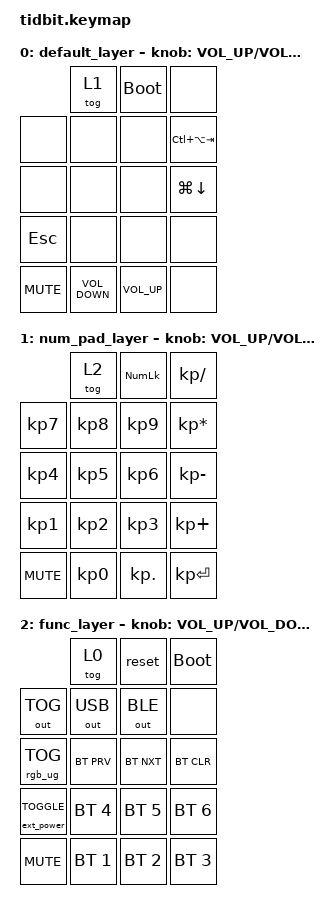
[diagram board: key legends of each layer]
/*
 * Copyright (c) 2020 The ZMK Contributors
 *
 * SPDX-License-Identifier: MIT
 */

#include <behaviors.dtsi>
#include <dt-bindings/zmk/bt.h>
#include <dt-bindings/zmk/outputs.h>
#include <dt-bindings/zmk/rgb.h>
#include <dt-bindings/zmk/keys.h>
#include <dt-bindings/zmk/ext_power.h>

&encoder_1_top_row {
    status = "disabled";
};

&encoder_4 {
    status = "okay";
};

&pro_micro_i2c {
	status = "okay";
};

/ {
    sensors {
		compatible = "zmk,keymap-sensors";
		sensors = <&encoder_4>;
	};

// Purple : &rgb_ug RGB_COLOR_HSB(275, 100, 50)
// Orange : &rgb_ug RGB_COLOR_HSB(35, 100, 50)
// Blue   : &rgb_ug RGB_COLOR_HSB(215, 100, 50)

    keymap {
        compatible = "zmk,keymap";
        default_layer {
            bindings = <
                           &tog 1            &bootloader     &none
                &none      &none             &none           &kp LC(LA(TAB))
                &none      &none             &none           &kp LG(DOWN_ARROW)
                &kp ESCAPE &none             &none           &none
                &kp C_MUTE &kp C_VOLUME_DOWN &kp C_VOLUME_UP &none
            >;

            sensor-bindings = <&inc_dec_kp C_VOLUME_UP C_VOLUME_DOWN>;
        };
        num_pad_layer {
            bindings = <
                                &tog 2          &kp KP_NUMLOCK  &kp KP_SLASH
                &kp KP_NUMBER_7 &kp KP_NUMBER_8 &kp KP_NUMBER_9 &kp KP_ASTERISK
                &kp KP_NUMBER_4 &kp KP_NUMBER_5 &kp KP_NUMBER_6 &kp KP_MINUS
                &kp KP_NUMBER_1 &kp KP_NUMBER_2 &kp KP_NUMBER_3 &kp KP_PLUS
                &kp C_MUTE      &kp KP_NUMBER_0 &kp KP_DOT      &kp KP_ENTER
            >;

            sensor-bindings = <&inc_dec_kp C_VOLUME_UP C_VOLUME_DOWN>;
        };

         func_layer {
             bindings = <
                                &tog 0          &reset          &bootloader
                &out OUT_TOG    &out OUT_USB    &out OUT_BLE    &none
                &rgb_ug RGB_TOG &bt BT_PRV      &bt BT_NXT      &bt BT_CLR
                &ext_power EXT_POWER_TOGGLE_CMD &bt BT_SEL 4    &bt BT_SEL 5    &bt BT_SEL 6
                &kp C_MUTE      &bt BT_SEL 1    &bt BT_SEL 2    &bt BT_SEL 3
             >;

            sensor-bindings = <&inc_dec_kp C_VOLUME_UP C_VOLUME_DOWN>;
         };
    };
};
